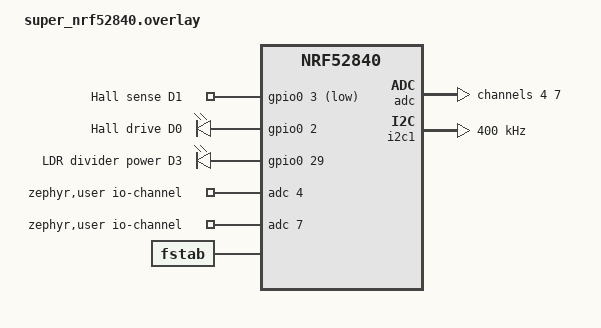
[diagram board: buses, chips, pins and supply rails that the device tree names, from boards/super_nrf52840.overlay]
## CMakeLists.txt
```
cmake_minimum_required(VERSION 3.20.0)

find_package(Zephyr REQUIRED HINTS $ENV{ZEPHYR_BASE})
project(bikecomp_zephyr)

set(FIRMWARE_ROOT ${CMAKE_CURRENT_SOURCE_DIR}/../../firmware)

include(${CMAKE_CURRENT_SOURCE_DIR}/../cmake/domain_sources.cmake)
set(DOMAIN_DIR ${BIKECOMP_DOMAIN_DIR})
set(DOMAIN_SOURCES ${BIKECOMP_DOMAIN_SOURCES})

set(PLATFORM_SOURCES
  src/platform/time_console.cpp
  src/platform/adc_io.cpp
  src/platform/littlefs_backend.cpp
  src/platform/deep_sleep_zephyr.cpp
)

set(SERVICE_SOURCES
  src/services/wheel_sensor.cpp
  src/services/battery_manager.cpp
  src/services/ambient_light_manager.cpp
  src/services/board_leds.cpp
  src/smoke/zephyr_smoke.cpp
)

if(CONFIG_BIKECOMP_ZEPHYR_BLE_STUB)
  list(APPEND SERVICE_SOURCES src/services/ble_manager_stub.cpp)
else()
  list(APPEND SERVICE_SOURCES src/services/ble_manager_zephyr.cpp)
endif()

if(CONFIG_BIKECOMP_ZEPHYR_DISPLAY_STUB)
  list(APPEND SERVICE_SOURCES src/services/display_manager_stub.cpp)
  target_compile_definitions(app PRIVATE BIKECOMP_ZEPHYR_DISPLAY_STUB=1)
else()
  list(APPEND SERVICE_SOURCES src/services/display_manager.cpp)
endif()

target_sources(app PRIVATE
  src/main.cpp
  src/app_controller.cpp
  ${PLATFORM_SOURCES}
  ${SERVICE_SOURCES}
  ${DOMAIN_SOURCES}
)

target_include_directories(app PRIVATE
  include
  src
  src/platform
  src/services
  src/smoke
  ${CMAKE_CURRENT_SOURCE_DIR}/../lib/u8g2
  ${FIRMWARE_ROOT}/include
  ${DOMAIN_DIR}
)

target_compile_definitions(app PRIVATE
  BOARD_SUPER_NRF52840=1
  BIKECOMP_HALL_TWO_WIRE=1
  BIKECOMP_SUPPRESS_BOARD_LEDS=1
  BIKECOMP_AMBIENT_RAW_DARK=100
  BIKECOMP_AMBIENT_RAW_BRIGHT=3900
  BIKECOMP_DISPLAY_HEIGHT=${CONFIG_BIKECOMP_DISPLAY_HEIGHT}
  PROTO_MAJOR=1
  PROTO_MINOR=2
  HW_REVISION=1
)

if(CONFIG_BIKECOMP_AMBIENT_LIGHT)
  target_compile_definitions(app PRIVATE BIKECOMP_AMBIENT_LIGHT=1)
else()
  target_compile_definitions(app PRIVATE BIKECOMP_AMBIENT_LIGHT=0)
endif()

if(CONFIG_BIKECOMP_HOTPATH_SERIAL)
  target_compile_definitions(app PRIVATE BIKECOMP_HOTPATH_SERIAL=1)
else()
  target_compile_definitions(app PRIVATE BIKECOMP_HOTPATH_SERIAL=0)
endif()

if(CONFIG_BIKECOMP_OPEN_PAIRING)
  target_compile_definitions(app PRIVATE BIKECOMP_OPEN_PAIRING=1)
else()
  target_compile_definitions(app PRIVATE BIKECOMP_OPEN_PAIRING=0)
endif()

if(CONFIG_BIKECOMP_DEEP_SLEEP)
  target_compile_definitions(app PRIVATE BIKECOMP_FEATURE_DEEP_SLEEP=1)
else()
  target_compile_definitions(app PRIVATE BIKECOMP_FEATURE_DEEP_SLEEP=0)
endif()

target_compile_options(app PRIVATE
  -Wall
  -Wextra
  -Werror=return-type
  -Wno-unused-parameter
)

if(NOT CONFIG_BIKECOMP_ZEPHYR_DISPLAY_STUB)
  add_subdirectory(${CMAKE_CURRENT_SOURCE_DIR}/../lib/u8g2 lib/u8g2)
endif()
```

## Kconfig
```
mainmenu "BikeComp Zephyr"

source "Kconfig.zephyr"

config FW_VERSION
	string "Firmware version string"
	default "0.2.0-zephyr"

config BIKECOMP_DISPLAY_HEIGHT
	int "OLED height in pixels"
	default 64
	range 32 64

config BIKECOMP_AMBIENT_LIGHT
	bool "Enable ambient light auto-brightness"
	default y

config BIKECOMP_OPEN_PAIRING
	bool "Always allow BLE pairing (prototype only)"
	default n

config BIKECOMP_HOTPATH_SERIAL
	bool "Verbose pulse/battery serial logging"
	default n

config BIKECOMP_ZEPHYR_BLE_STUB
	bool "Use BLE stub instead of full Zephyr BT stack"
	default n
	help
	  Phase-1 migration keeps BLE as a compile-time stub while the Zephyr
	  GATT service is ported. Disable once ble_manager_zephyr.cpp is complete.

config BIKECOMP_ZEPHYR_DISPLAY_STUB
	bool "Use headless display stub (no SSD1306 I2C)"
	default n
	help
	  Phase-1 migration keeps OLED rendering disabled. Disable once the
	  Zephyr SSD1306/U8g2 adapter is complete.

config BIKECOMP_DEEP_SLEEP
	bool "Enable deep sleep (System OFF) adapter"
	default y
	help
	  Mirrors Arduino BIKECOMP_FEATURE_DEEP_SLEEP. Code path is compiled in;
	  actual entry still requires config_.deep_sleep_enabled at runtime and
	  is gated by the same hardware bench verification as the Arduino build
	  (see tasks/firmware/README.md "Общие firmware-долги").
```

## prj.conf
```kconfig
# BikeComp Zephyr build (parity target: Arduino firmware STATUS.md 2026-08-01)

CONFIG_MAIN_STACK_SIZE=4096
CONFIG_SYSTEM_WORKQUEUE_STACK_SIZE=4096
CONFIG_HEAP_MEM_POOL_SIZE=32768

CONFIG_CPP=y
CONFIG_STD_CPP17=y
CONFIG_REQUIRES_FULL_LIBCPP=y
CONFIG_NEWLIB_LIBC=y
CONFIG_NEWLIB_LIBC_FLOAT_PRINTF=y

CONFIG_GPIO=y
CONFIG_ADC=y
CONFIG_I2C=y
CONFIG_HWINFO=y
CONFIG_REBOOT=y
CONFIG_ENTROPY_GENERATOR=y
CONFIG_FILE_SYSTEM=y
CONFIG_FILE_SYSTEM_LITTLEFS=y
CONFIG_FLASH=y
CONFIG_FLASH_MAP=y
CONFIG_FLASH_PAGE_LAYOUT=y

CONFIG_USB_DEVICE_STACK_NEXT=y
CONFIG_CDC_ACM_SERIAL_INITIALIZE_AT_BOOT=y
CONFIG_UART_LINE_CTRL=y
CONFIG_SERIAL=y
CONFIG_UART_INTERRUPT_DRIVEN=y
CONFIG_RING_BUFFER=y

CONFIG_LOG=n
CONFIG_PRINTK=y

CONFIG_FW_VERSION="0.2.0-zephyr"
CONFIG_BIKECOMP_DISPLAY_HEIGHT=64
CONFIG_BIKECOMP_AMBIENT_LIGHT=y
CONFIG_BIKECOMP_OPEN_PAIRING=n
CONFIG_BIKECOMP_HOTPATH_SERIAL=n
CONFIG_BIKECOMP_ZEPHYR_BLE_STUB=n
CONFIG_BIKECOMP_ZEPHYR_DISPLAY_STUB=n
CONFIG_BIKECOMP_DEEP_SLEEP=y
```

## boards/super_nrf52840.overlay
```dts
/*
 * Super-nRF52840 overlay for Seeed XIAO BLE (Sense).
 * Hall reed (BIKECOMP_HALL_TWO_WIRE): D0/P0.02 drive LOW + D1/P0.03 sense.
 * Ambient LDR: D3/P0.29 power, D2/A2/P0.28 ADC (SAADC AIN4).
 * Battery divider: P0.31 ADC (SAADC AIN7).
 */
#include <zephyr/dt-bindings/adc/nrf-saadc.h>
#include <zephyr/dt-bindings/i2c/i2c.h>

/ {
	chosen {
		zephyr,settings-partition = &storage_partition;
	};

	aliases {
		hall-sensor = &hall_gpio;
		hall-drive = &hall_drive_gpio;
		ambient-power = &ambient_power;
		oled-i2c = &i2c1;
	};

	hall_gpio: hall-gpio {
		compatible = "gpio-keys";
		hall-pin {
			gpios = <&gpio0 3 (GPIO_PULL_UP | GPIO_ACTIVE_LOW)>;
			label = "Hall sense D1";
		};
	};

	hall_drive_gpio: hall-drive-gpio {
		compatible = "gpio-leds";
		hall-drive-pin {
			gpios = <&gpio0 2 GPIO_ACTIVE_HIGH>;
			label = "Hall drive D0";
		};
	};

	ambient_power: ambient-power {
		compatible = "gpio-leds";
		ldr-power {
			gpios = <&gpio0 29 GPIO_ACTIVE_HIGH>;
			label = "LDR divider power D3";
		};
	};

	zephyr,user {
		io-channels = <&adc 4>, <&adc 7>;
	};

	fstab {
		compatible = "zephyr,fstab";
		bikecomp_lfs: bikecomp-lfs {
			compatible = "zephyr,fstab,littlefs";
			mount-point = "/bikecomp";
			partition = <&bikecomp_partition>;
			automount;
			read-size = <16>;
			prog-size = <16>;
			cache-size = <64>;
			lookahead-size = <32>;
			block-cycles = <512>;
		};
	};
};

/* Reserve two 4 KiB sectors for Bluetooth/settings NVS. */
&storage_partition {
	label = "Settings";
	reg = <0x000ec000 0x00002000>;
};

&flash0 {
	partitions {
		bikecomp_partition: partition@ee000 {
			label = "bikecomp_lfs";
			reg = <0x000ee000 0x00006000>;
		};
	};
};

&adc {
	status = "okay";
	#address-cells = <1>;
	#size-cells = <0>;

	channel@4 {
		reg = <4>;
		zephyr,gain = "ADC_GAIN_1_6";
		zephyr,reference = "ADC_REF_INTERNAL";
		zephyr,acquisition-time = <ADC_ACQ_TIME(ADC_ACQ_TIME_MICROSECONDS, 40)>;
		zephyr,input-positive = <NRF_SAADC_AIN4>;
		zephyr,resolution = <12>;
	};

	channel@7 {
		reg = <7>;
		zephyr,gain = "ADC_GAIN_1_6";
		zephyr,reference = "ADC_REF_INTERNAL";
		zephyr,acquisition-time = <ADC_ACQ_TIME(ADC_ACQ_TIME_MICROSECONDS, 40)>;
		zephyr,input-positive = <NRF_SAADC_AIN7>;
		zephyr,resolution = <12>;
	};
};

&i2c1 {
	clock-frequency = <I2C_BITRATE_FAST>;
};
```

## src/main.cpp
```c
#include <zephyr/kernel.h>

#include "app_controller.h"

namespace {
bike::AppController app;
}

int main() {
  app.begin();
  while (true) {
    app.loop();
  }
  return 0;
}
```

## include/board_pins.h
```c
#pragma once

#include <stdint.h>

namespace bike {

// Zephyr devicetree aliases (see super_nrf52840.overlay).
constexpr uint8_t kHallDtAlias = 0;          // hall-sensor
constexpr uint8_t kHallDriveDtAlias = 0;     // hall-drive
constexpr uint8_t kAmbientAdcDtAlias = 0;    // ambient-adc-mux
constexpr uint8_t kAmbientPowerDtAlias = 0;  // ambient-power
constexpr uint8_t kBatteryAdcDtAlias = 1;    // battery-adc-mux

// Logical names mirroring firmware/include/board_pins.h.
constexpr uint8_t kHallDrivePin = kHallDriveDtAlias;
constexpr uint8_t kHallSensePin = kHallDtAlias;
constexpr uint8_t kHallPin = kHallSensePin;
constexpr uint8_t kAmbientLightAdcPin = kAmbientAdcDtAlias;
constexpr uint8_t kAmbientLightPowerPin = kAmbientPowerDtAlias;
constexpr uint8_t kBatteryAdcPin = kBatteryAdcDtAlias;

constexpr char kHallPinLabel[] = "D0+D1";
constexpr char kHallSensePinLabel[] = "D1/P0.03";
constexpr char kHallDrivePinLabel[] = "D0/P0.02";
constexpr char kHallNrfPin[] = "sense=P0.03 drive=P0.02";

// XIAO nRF52840 board LEDs (active-low RGB) and charge indicator.
constexpr uint8_t kBoardLedRedPin = 26;    // P0.26 / D11
constexpr uint8_t kBoardLedBluePin = 6;    // P0.06 / D12
constexpr uint8_t kBoardLedGreenPin = 30;  // P0.30 / D13
constexpr uint8_t kBoardChargeIndicatorPin = 17;  // P0.17 / D23

// Raw nRF52840 GPIO numbers for deep-sleep SENSE config (mirrors firmware/include/board_pins.h).
constexpr uint32_t kHallSenseNrfGpio = 3u;   // P0.03
constexpr uint32_t kHallDriveNrfGpio = 2u;   // P0.02
constexpr uint32_t kBoardChargeNrfGpio = 17u;  // P0.17

}  // namespace bike
```

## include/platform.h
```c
#pragma once

#include <stdint.h>

#include <zephyr/kernel.h>

namespace bike {
namespace platform {

uint32_t millis();
uint32_t micros();
void yield();

uint32_t resetReasonRaw();
void clearResetReason(uint32_t raw);
int freeHeapBytes();
bool usbPresent();
void systemReset();

}  // namespace platform

inline uint32_t millis() { return platform::millis(); }
inline uint32_t micros() { return platform::micros(); }
inline void yield() { platform::yield(); }

}  // namespace bike

// Arduino-compatible interrupt edge constants used by WheelSensor.
#ifndef RISING
#define RISING 1
#endif
#ifndef FALLING
#define FALLING 2
#endif
#ifndef CHANGE
#define CHANGE 3
#endif
#ifndef HEX
#define HEX 16
#endif

// Minimal Serial shim over Zephyr USB CDC / printk.
class SerialConsole {
 public:
  void begin(unsigned long baud);
  explicit operator bool() const { return ready_; }
  int available();
  int read();
  void print(const char* text);
  void print(char value);
  void print(unsigned value);
  void print(int value);
  void print(uint16_t value);
  void print(uint64_t value);
  void print(unsigned value, int base);
  void println();
  void println(const char* text);
  void println(int value);
  void println(unsigned value);
  void println(uint16_t value);
  void println(int16_t value);
  void println(char value);
  void println(bool value);
  void println(unsigned value, int base);

 private:
  bool ready_ = false;
};

extern SerialConsole Serial;
```

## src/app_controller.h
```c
#pragma once

#include "ambient_light_manager.h"
#include "battery_manager.h"
#include "ble_manager.h"
#include "companion_snapshot.h"
#include "config.h"
#include "diagnostics.h"
#include "display_manager.h"
#include "littlefs_backend.h"
#include "odometer_save_policy.h"
#include "platform/deep_sleep.h"
#include "power_manager.h"
#include "pulse_filter.h"
#include "ride_state.h"
#include "scheduler.h"
#include "serial_console.h"
#include "speed_calculator.h"
#include "storage_manager.h"
#include "trip_computer.h"
#include "wheel_sensor.h"

namespace bike {

class AppController {
 public:
  AppController();
  void begin();
  void loop();

  DiagnosticSnapshot diagnosticSnapshot() const;

 private:
  static void pulseTask(void* context, uint32_t now_ms);
  static void stateTask(void* context, uint32_t now_ms);
  static void ambientTask(void* context, uint32_t now_ms);
  static void displayTask(void* context, uint32_t now_ms);
  static void batteryTask(void* context, uint32_t now_ms);
  static void bleTask(void* context, uint32_t now_ms);

  void processPulses(uint32_t now_ms);
  void updateState(uint32_t now_ms);
  void updateAmbient(uint32_t now_ms);
  void updateDisplay(uint32_t now_ms);
  void updateBattery(uint32_t now_ms);
  void updateBle(uint32_t now_ms);
  void processPendingConfigWrite(uint32_t now_ms);
  void processPendingSafeCommand(uint32_t now_ms);
  void processPendingDangerousCommand(uint32_t now_ms);
  void processPendingCompanionWrite(uint32_t now_ms);
  void processSerialConsole(uint32_t now_ms);
  void dumpConfig() const;
  void applyConfig(const DeviceConfig& config);
  void configurePowerManager();
  PowerManagerInput buildPowerManagerInput(uint32_t now_ms) const;
  void applySchedulerPeriods(uint32_t now_ms);
  void handlePowerManagerResult(const PowerManagerUpdateResult& result,
                                uint32_t now_ms);
  void updatePowerManager(uint32_t now_ms);
  void tryEnterDeepSleep(uint32_t now_ms);
  void printPowerStatus() const;
  void printStatus();
  void applyRideUpdate(const RideUpdate& update, uint32_t now_ms);
  void maybePersistOdometer(uint32_t now_ms);
  bool persistOdometer(OdometerSaveTrigger trigger);
  bool saveAndApplyOdometer(uint64_t odometer_mm, uint64_t total_revolutions);
  void printDiagnostics() const;
  void printAmbientLine() const;
  void printDisplayState() const;
  void printHallStatus() const;
  void maybeLogHallWatch(uint32_t now_ms);
  void printGpioProbe();
  void maybeLogGpioWatch(uint32_t now_ms);
  void restoreHallInterrupt();
  void applyHallEdge(uint8_t active_edge);

  DeviceConfig config_;
  LittleFsBackend storage_backend_;
  StorageManager storage_;
  OdometerSavePolicy odometer_save_;
  WheelSensor wheel_sensor_;
  PulseFilter pulse_filter_;
  SpeedCalculator speed_calculator_;
  TripComputer trip_computer_;
  RideStateMachine ride_state_;
  AmbientLightManager ambient_light_;
  BatteryManager battery_;
  DisplayManager display_;
  BleManager ble_;
  PowerManager power_manager_;
  CompanionState companion_state_ = {};
  SerialCommandParser serial_command_parser_;
  ScheduledTask tasks_[6];
  Scheduler scheduler_;
  uint8_t selftest_mask_ = 0;
  uint32_t sensor_test_started_ms_ = 0;
  uint32_t sensor_test_duration_ms_ = 0;
  uint32_t logged_isr_overflow_ = 0;
  uint32_t logged_sensor_stuck_ = 0;
  bool critical_battery_active_ = false;
  bool reboot_pending_ = false;
  uint32_t reboot_requested_ms_ = 0;
  bool ambient_raw_logging_ = false;
  bool hall_watch_logging_ = false;
  uint32_t hall_watch_last_ms_ = 0;
  uint32_t hall_watch_last_pulses_ = 0;
  bool hall_watch_last_pin_high_ = true;
  bool gpio_watch_logging_ = false;
  uint32_t gpio_watch_last_ms_ = 0;
  bool gpio_watch_last_high_ = true;
};

}  // namespace bike
```
